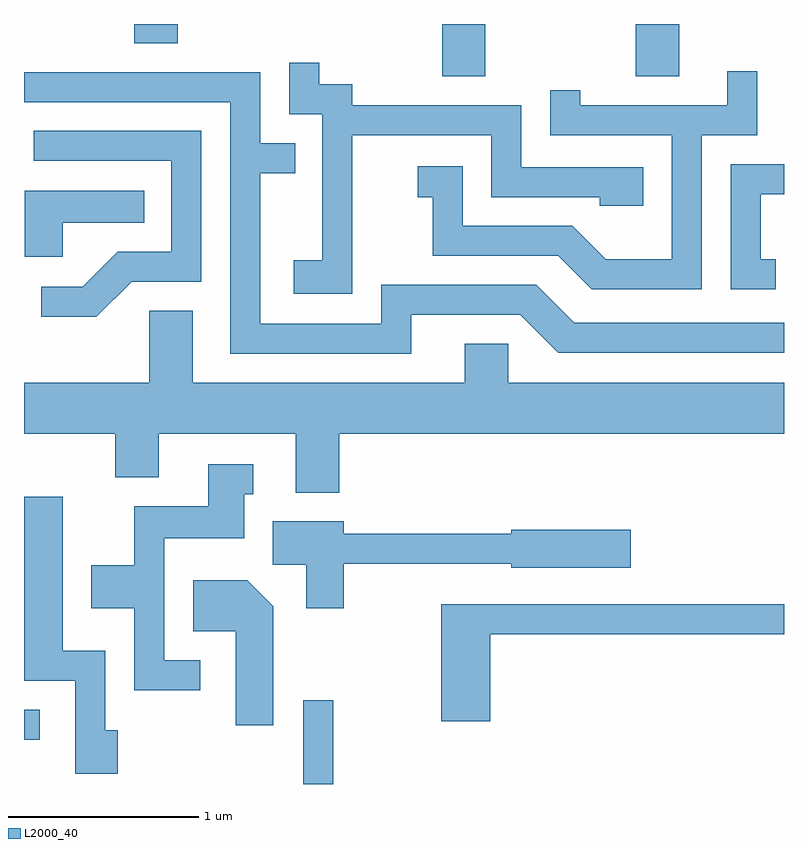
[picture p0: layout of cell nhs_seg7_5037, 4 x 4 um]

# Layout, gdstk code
import gdstk
lib = gdstk.Library(unit=1e-6, precision=1e-09)
def R(c, l, rs):  # rectangles x0, y0, x1, y1
    for r in rs: c.add(gdstk.rectangle(r[:2], r[2:], *l))
def P(c, l, *ps):  # polygons
    for p in ps: c.add(gdstk.Polygon(p, *l))
L2000_40 = (2000, 40)

nhs_seg7_5037 = lib.new_cell('nhs_seg7_5037')
R(nhs_seg7_5037, L2000_40, [(341.081,1710.252,341.239,1710.693), (339.611,1710.486,339.693,1710.644), (341.811,1713.976,342.039,1714.252), (342.831,1713.976,343.059,1714.252), (340.191,1714.151,340.419,1714.252)])
P(nhs_seg7_5037, L2000_40, [(341.339,1713.666),(342.071,1713.666),(342.071,1713.341),(342.641,1713.341),(342.641,1713.296),(342.869,1713.296),(342.869,1713.499),(342.229,1713.499),(342.229,1713.824),(341.339,1713.824),(341.339,1713.934),(341.164,1713.934),(341.164,1714.048),(341.006,1714.048),(341.006,1713.776),(341.181,1713.776),(341.181,1713.009),(341.031,1713.009),(341.031,1712.831),(341.339,1712.831)],
  [(343.179,1713.666),(343.469,1713.666),(343.469,1714.003),(343.311,1714.003),(343.311,1713.824),(342.539,1713.824),(342.539,1713.903),(342.381,1713.903),(342.381,1713.666),(343.021,1713.666),(343.021,1713.014),(342.672,1713.014),(342.497,1713.189),(341.919,1713.189),(341.919,1713.504),(341.683,1713.504),(341.683,1713.341),(341.761,1713.341),(341.761,1713.031),(342.424,1713.031),(342.599,1712.856),(343.179,1712.856)],
  [(341.649,1712.721),(342.224,1712.721),(342.424,1712.521),(343.611,1712.521),(343.611,1712.679),(342.507,1712.679),(342.307,1712.879),(341.491,1712.879),(341.491,1712.674),(340.854,1712.674),(340.854,1713.466),(341.038,1713.466),(341.038,1713.624),(340.854,1713.624),(340.854,1713.999),(339.611,1713.999),(339.611,1713.841),(340.696,1713.841),(340.696,1712.516),(341.649,1712.516)],
  [(340.177,1712.896),(340.544,1712.896),(340.544,1713.689),(339.663,1713.689),(339.663,1713.531),(340.386,1713.531),(340.386,1713.054),(340.104,1713.054),(339.919,1712.869),(339.703,1712.869),(339.703,1712.711),(339.992,1712.711)],
  [(343.568,1713.014),(343.489,1713.014),(343.489,1713.356),(343.611,1713.356),(343.611,1713.514),(343.331,1713.514),(343.331,1712.856),(343.568,1712.856)],
  [(339.814,1713.206),(340.243,1713.206),(340.243,1713.374),(339.616,1713.374),(339.616,1713.026),(339.814,1713.026)],
  [(341.269,1712.096),(343.611,1712.096),(343.611,1712.364),(342.159,1712.364),(342.159,1712.569),(341.931,1712.569),(341.931,1712.364),(340.499,1712.364),(340.499,1712.744),(340.271,1712.744),(340.271,1712.364),(339.611,1712.364),(339.611,1712.096),(340.091,1712.096),(340.091,1711.866),(340.319,1711.866),(340.319,1712.096),(341.041,1712.096),(341.041,1711.786),(341.269,1711.786)],
  [(340.538,1710.904),(340.349,1710.904),(340.349,1711.546),(340.769,1711.546),(340.769,1711.776),(340.818,1711.776),(340.818,1711.934),(340.581,1711.934),(340.581,1711.714),(340.191,1711.714),(340.191,1711.404),(339.966,1711.404),(339.966,1711.176),(340.191,1711.176),(340.191,1710.746),(340.538,1710.746)],
  [(340.104,1710.534),(340.039,1710.534),(340.039,1710.954),(339.814,1710.954),(339.814,1711.764),(339.611,1711.764),(339.611,1710.796),(339.881,1710.796),(339.881,1710.306),(340.104,1710.306)],
  [(341.294,1711.411),(342.176,1711.411),(342.176,1711.391),(342.804,1711.391),(342.804,1711.589),(342.176,1711.589),(342.176,1711.569),(341.294,1711.569),(341.294,1711.634),(340.921,1711.634),(340.921,1711.406),(341.096,1711.406),(341.096,1711.176),(341.294,1711.176)],
  [(340.924,1711.187),(340.787,1711.324),(340.501,1711.324),(340.501,1711.056),(340.726,1711.056),(340.726,1710.561),(340.924,1710.561)],
  [(342.064,1711.041),(343.611,1711.041),(343.611,1711.199),(341.806,1711.199),(341.806,1710.581),(342.064,1710.581)])

lib.write_gds('nhs_seg7_5037.gds')
